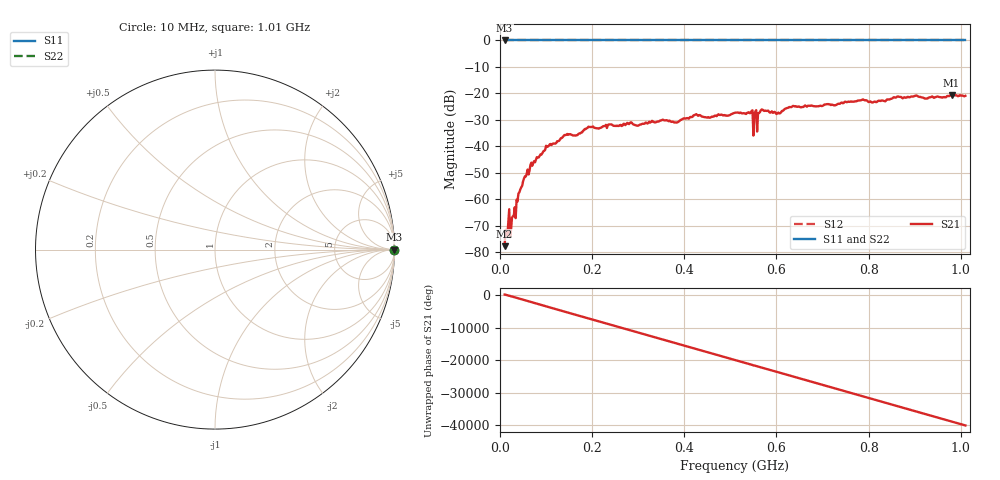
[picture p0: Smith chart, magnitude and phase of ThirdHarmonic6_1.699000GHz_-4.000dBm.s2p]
! 8/16/2025 8:24:53 PM
! C:\ANRITSUVNA\TEMP\TEMP.S2P
! CHANNEL.1
! TR.MEASUREMENT
! RAW.DATA
! RF.CORRECTION.OFF
! AVERAGING.OFF
! IF.BANDWIDTH: 5KHZ
! SWEEPTYPE:  FREQ.SWEEP(Linear)
! Reference Plane Port Info
! PORT:  PORT1  PORT2
! DISTANCE:  0  m  0  m
! TIME:  0  s  0  s
! PHASE.OFFSET:  0  deg.  0  deg.
! LOSS:  0  dB  0  dB
! REF.LOSS:  0  dB  0  dB
! REF.FREQ:  0  Hz  0  Hz
! Power Info
! POWER:  -20  dBm  -20  dBm
! EFF.POWER:  -20  dBm  -20  dBm
! SOURCE.ATTEN:  0  dB  0  dB
! TEST.ATTEN:  0  dB  0  dB
# GHZ S RI R 50.0
! FREQ.GHZ  S11RE  S11IM  S21RE  S21IM  S12RE  S12IM  S22RE  S22IM
!; PortSelection: Port_12
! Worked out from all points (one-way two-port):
!   501 points, 10 MHz to 1.01 GHz, reference 50 ohm
!   highest |S21| = -20.60 dB at 980 MHz (marker M1); lowest = -77.7 dB at 10 MHz (marker M2)
!   lowest |S11| = 0.0 dB at 10 MHz (marker M3)
!   |S11| at or under -10 dB: nowhere
!   |S22| runs from 0.0 to 0.0 dB; largest |S21 - S12| = 1.1
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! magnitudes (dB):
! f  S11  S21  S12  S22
! 10 MHz  0.0  -77.7  0.0  0.0
! 16 MHz  0.0  -73.7  0.0  0.0
! 26 MHz  0.0  -66.9  0.0  0.0
! 40 MHz  0.0  -57.8  0.0  0.0
! 50 MHz  0.0  -53.3  0.0  0.0
! 70 MHz  0.0  -47.3  0.0  0.0
! 104 MHz  0.0  -40.1  0.0  0.0
! 142 MHz  0.0  -35.7  0.0  0.0
! 178 MHz  0.0  -34.7  0.0  0.0
! 196 MHz  0.0  -32.7  0.0  0.0
! 344 MHz  0.0  -30.7  0.0  0.0
! 510 MHz  0.0  -27.3  0.0  0.0
! 544 MHz  0.0  -27.4  0.0  0.0
! 554 MHz  0.0  -27.0  0.0  0.0
! 556 MHz  0.0  -26.3  0.0  0.0
! 570 MHz  0.0  -26.2  0.0  0.0
! 604 MHz  0.0  -27.2  0.0  0.0
! 632 MHz  0.0  -25.2  0.0  0.0
! 678 MHz  0.0  -24.7  0.0  0.0
! 844 MHz  0.0  -22.3  0.0  0.0
! 980 MHz  0.0  -20.6  0.0  0.0
! 1.01 GHz  0.0  -20.9  0.0  0.0
